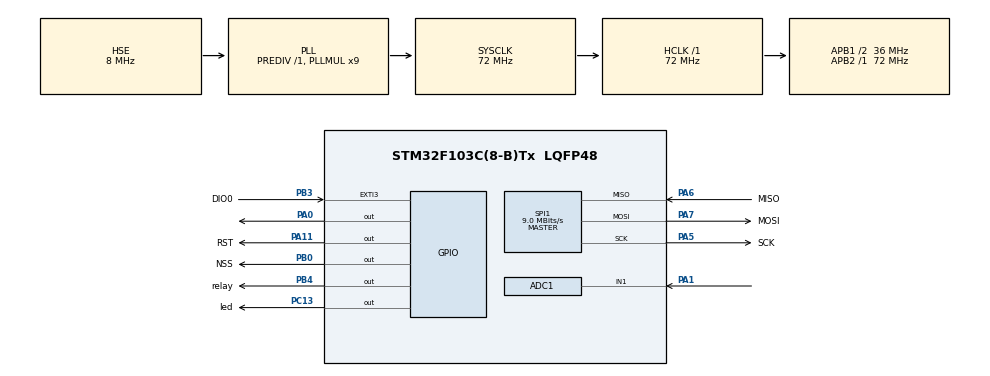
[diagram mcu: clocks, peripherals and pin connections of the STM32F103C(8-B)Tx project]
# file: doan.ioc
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ADC1.Channel-0\#ChannelRegularConversion=ADC_CHANNEL_1
ADC1.ContinuousConvMode=DISABLE
ADC1.DataAlign=ADC_DATAALIGN_RIGHT
ADC1.DiscontinuousConvMode=DISABLE
ADC1.EnableAnalogWatchDog=false
ADC1.EnableRegularConversion=ENABLE
ADC1.ExternalTrigConvEdgeChoice=NONE
ADC1.InjNumberOfConversion=0
ADC1.NbrOfConversion=1
ADC1.NbrOfConversionFlag=1
ADC1.Rank-0\#ChannelRegularConversion=1
ADC1.SamplingTime-0\#ChannelRegularConversion=ADC_SAMPLETIME_1CYCLE_5
ADC1.ScanConvMode=ADC_SCAN_DISABLE
ADC1.master=1
Mcu.Family=STM32F1
Mcu.Name=STM32F103C(8-B)Tx
Mcu.Package=LQFP48
NVIC.EXTI3_IRQn=true\:0\:0\:false\:false\:true\:true\:true\:true
NVIC.PriorityGroup=NVIC_PRIORITYGROUP_4
PA0-WKUP.PinState=GPIO_PIN_SET
PA0-WKUP.Signal=GPIO_Output
PA1.Signal=ADCx_IN1
PA11.GPIO_Label=RST
PA11.PinState=GPIO_PIN_SET
PA11.Signal=GPIO_Output
PA13.Mode=Serial_Wire
PA13.Signal=SYS_JTMS-SWDIO
PA14.Mode=Serial_Wire
PA14.Signal=SYS_JTCK-SWCLK
PA5.GPIO_Label=SCK
PA5.Mode=Full_Duplex_Master
PA5.Signal=SPI1_SCK
PA6.GPIO_Label=MISO
PA6.Mode=Full_Duplex_Master
PA6.Signal=SPI1_MISO
PA7.GPIO_Label=MOSI
PA7.Mode=Full_Duplex_Master
PA7.Signal=SPI1_MOSI
PB0.GPIO_Label=NSS
PB0.PinState=GPIO_PIN_SET
PB0.Signal=GPIO_Output
PB3.GPIO_Label=DIO0
PB3.Signal=GPXTI3
PB4.GPIO_Label=relay
PB4.Signal=GPIO_Output
PC13-TAMPER-RTC.GPIO_Label=led
PC13-TAMPER-RTC.Signal=GPIO_Output
PD0-OSC_IN.Mode=HSE-External-Oscillator
PD0-OSC_IN.Signal=RCC_OSC_IN
PD1-OSC_OUT.Mode=HSE-External-Oscillator
PD1-OSC_OUT.Signal=RCC_OSC_OUT
ProjectManager.HeapSize=0x200
ProjectManager.StackSize=0x400
ProjectManager.TargetToolchain=MDK-ARM V5
RCC.ADCPresc=RCC_ADCPCLK2_DIV6
RCC.AHBFreq_Value=72000000
RCC.APB1CLKDivider=RCC_HCLK_DIV2
RCC.APB1Freq_Value=36000000
RCC.APB1TimCLKDivider=1
RCC.APB1TimFreq_Value=36000000
RCC.APB2Freq_Value=72000000
RCC.APB2TimFreq_Value=72000000
RCC.HCLKFreq_Value=72000000
RCC.PLLMUL=RCC_PLL_MUL9
RCC.PLLSourceVirtual=RCC_PLLSOURCE_HSE
RCC.RTCClockSelection=RCC_RTCCLKSOURCE_LSE
RCC.SYSCLKFreq_VALUE=72000000
RCC.SYSCLKSource=RCC_SYSCLKSOURCE_PLLCLK
RCC.USBFreq_Value=72000000
SH.ADCx_IN1.0=ADC1_IN1,IN1
SPI1.BaudRatePrescaler=SPI_BAUDRATEPRESCALER_8
SPI1.CalculateBaudRate=9.0 MBits/s
SPI1.Direction=SPI_DIRECTION_2LINES
SPI1.Mode=SPI_MODE_MASTER
SPI1.VirtualType=VM_MASTER
TIM1.Period=0xffff-1
TIM1.Prescaler=72-1
VP_TIM1_VS_ClockSourceINT.Mode=Internal
board=doan

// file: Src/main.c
/**
  ******************************************************************************
  * File Name          : main.c
  * Description        : Main program body
  ******************************************************************************
  *
  * COPYRIGHT(c) 2024 STMicroelectronics
  *
  * Redistribution and use in source and binary forms, with or without modification,
  * are permitted provided that the following conditions are met:
  *   1. Redistributions of source code must retain the above copyright notice,
  *      this list of conditions and the following disclaimer.
  *   2. Redistributions in binary form must reproduce the above copyright notice,
  *      this list of conditions and the following disclaimer in the documentation
  *      and/or other materials provided with the distribution.
  *   3. Neither the name of STMicroelectronics nor the names of its contributors
  *      may be used to endorse or promote products derived from this software
  *      without specific prior written permission.
  *
  * THIS SOFTWARE IS PROVIDED BY THE COPYRIGHT HOLDERS AND CONTRIBUTORS "AS IS"
  * AND ANY EXPRESS OR IMPLIED WARRANTIES, INCLUDING, BUT NOT LIMITED TO, THE
  * IMPLIED WARRANTIES OF MERCHANTABILITY AND FITNESS FOR A PARTICULAR PURPOSE ARE
  * DISCLAIMED. IN NO EVENT SHALL THE COPYRIGHT HOLDER OR CONTRIBUTORS BE LIABLE
  * FOR ANY DIRECT, INDIRECT, INCIDENTAL, SPECIAL, EXEMPLARY, OR CONSEQUENTIAL
  * DAMAGES (INCLUDING, BUT NOT LIMITED TO, PROCUREMENT OF SUBSTITUTE GOODS OR
  * SERVICES; LOSS OF USE, DATA, OR PROFITS; OR BUSINESS INTERRUPTION) HOWEVER
  * CAUSED AND ON ANY THEORY OF LIABILITY, WHETHER IN CONTRACT, STRICT LIABILITY,
  * OR TORT (INCLUDING NEGLIGENCE OR OTHERWISE) ARISING IN ANY WAY OUT OF THE USE
  * OF THIS SOFTWARE, EVEN IF ADVISED OF THE POSSIBILITY OF SUCH DAMAGE.
  *
  ******************************************************************************
  */
#include "stm32f1xx_hal.h"

/* USER CODE BEGIN Includes */
#include "LoRa.h"
#include "dht11.h"
#include "Soil_moisture.h"
#include <string.h>
/* USER CODE END Includes */

ADC_HandleTypeDef hadc1;

SPI_HandleTypeDef hspi1;

TIM_HandleTypeDef htim1;

/* USER CODE BEGIN PV */
/* Private variables ---------------------------------------------------------*/
#ifndef __LoRa_H
    #error Include LoRa lib please
#endif

#ifndef __dht11_H
    #error Include dht11 lib please
#endif

#ifndef _Soil_moisture_H
    #error Include soil lib please
#endif

#define DEVICE_0			0
#define DEVICE_1			1
#define DEVICE_2			2

#define receive

#define DEVICE_ID			DEVICE_2

#define DHT11_PORT GPIOA
#define DHT11_PIN GPIO_PIN_0

uint8_t RH1, RH2, TC1, TC2, SUM, CHECK;
uint8_t RHI, RHD, TCI, TCD, SUM;
uint32_t pMillis, cMillis;
int tCelsius = 0;
float tFahrenheit = 0;
int RH = 0;

LoRa myLoRa;
uint8_t LoRa_stat;
uint8_t Buffer_ADC[8];
uint8_t temp = 25, hum = 20;
uint16_t ADC_VAL = 0;
uint16_t Percent_Val;
uint8_t received_data[10];
uint8_t flag_transmit = 0;
uint8_t flag_transmit_relay = 0;
uint8_t ID = DEVICE_ID;
uint8_t relay_state = 0;
uint8_t flag_200 = 0;
uint8_t	flag_200_rv = 0;
uint16_t count_time = 0;
char json[128];
int len;

//int			RSSI;
/* USER CODE END PV */

void SystemClock_Config(void);
static void SystemClock_Config(void);
static void MX_GPIO_Init(void);
static void MX_ADC1_Init(void);
static void MX_SPI1_Init(void);
static void MX_TIM1_Init(void);

/* USER CODE BEGIN PFP */
/* Private function prototypes -----------------------------------------------*/

/* USER CODE END PFP */

/* USER CODE BEGIN 0 */
void HAL_GPIO_EXTI_Callback(uint16_t GPIO_Pin)
{
	if(GPIO_Pin == DIO0_Pin){
		//received_data = "";
		LoRa_receive(&myLoRa, received_data, 10);
		#if (DEVICE_ID == DEVICE_0)
			if(!strcmp((char*) received_data,"GET_ID0")){
				flag_transmit=1;
			}
			else if (!strcmp((char*) received_data,"200") && flag_transmit){
				flag_200 = 1;
			}
			else if(!strcmp((char*) received_data,"ON_ID0")){
				flag_transmit_relay=1;
				relay_state = 1;
				HAL_GPIO_WritePin(relay_GPIO_Port,relay_Pin,GPIO_PIN_RESET);
			}
			else if(!strcmp((char*) received_data,"OFF_ID0")){
				flag_transmit_relay=1;
				relay_state = 0;
				HAL_GPIO_WritePin(relay_GPIO_Port,relay_Pin,GPIO_PIN_SET);
			}
			memset(received_data, 0, sizeof(received_data));

			#elif (DEVICE_ID == DEVICE_1)
			if(!strcmp((char*) received_data,"GET_ID1")){
				flag_transmit=1;
			}
			else if (!strcmp((char*) received_data,"200") && flag_transmit){
				flag_200 = 1;
			}
			else if(!strcmp((char*) received_data,"ON_ID1")){
				flag_transmit_relay=1;
				relay_state = 1;
				HAL_GPIO_WritePin(relay_GPIO_Port,relay_Pin,GPIO_PIN_RESET);

			}
			else if(!strcmp((char*) received_data,"OFF_ID1")){
				flag_transmit_relay=1;
				relay_state = 0;
				HAL_GPIO_WritePin(relay_GPIO_Port,relay_Pin,GPIO_PIN_SET);
			}
			memset(received_data, 0, sizeof(received_data));

		#elif (DEVICE_ID == DEVICE_2)
			if(!strcmp((char*) received_data,"GET_ID2")){
				flag_transmit = 1;
			}
			else if (!strcmp((char*) received_data,"200") && flag_transmit){
				flag_200 = 1;
			}
			else if(!strcmp((char*) received_data,"ON_ID2")){
				flag_transmit_relay=1;
				relay_state = 1;
				HAL_GPIO_WritePin(relay_GPIO_Port,relay_Pin,GPIO_PIN_RESET);
			}
			else if(!strcmp((char*) received_data,"OFF_ID2")){
				flag_transmit_relay=1;
				relay_state = 0;
				HAL_GPIO_WritePin(relay_GPIO_Port,relay_Pin,GPIO_PIN_SET);
			}
			memset(received_data, 0, sizeof(received_data));
		#endif

	}
}

uint16_t map(long x, long in_min, long in_max, long out_min, long out_max)
{
	return (x - in_min) * (out_max - out_min) / (in_max - in_min) + out_min;
}

uint8_t DHT11_Start (void)
{
  uint8_t Response = 0;
  GPIO_InitTypeDef GPIO_InitStructPrivate = {0};
  GPIO_InitStructPrivate.Pin = DHT11_PIN;
  GPIO_InitStructPrivate.Mode = GPIO_MODE_OUTPUT_PP;
  GPIO_InitStructPrivate.Speed = GPIO_SPEED_FREQ_LOW;
  GPIO_InitStructPrivate.Pull = GPIO_NOPULL;
  HAL_GPIO_Init(DHT11_PORT, &GPIO_InitStructPrivate); // set the pin as output
  HAL_GPIO_WritePin (DHT11_PORT, DHT11_PIN, GPIO_PIN_RESET);   // pull the pin low
  HAL_Delay(20);   // wait for 20ms
  HAL_GPIO_WritePin (DHT11_PORT, DHT11_PIN, GPIO_PIN_SET);   // pull the pin high
  delay_us (30);   // wait for 30us
  GPIO_InitStructPrivate.Mode = GPIO_MODE_INPUT;
  GPIO_InitStructPrivate.Pull = GPIO_PULLUP;
  HAL_GPIO_Init(DHT11_PORT, &GPIO_InitStructPrivate); // set the pin as input
 delay_us (40);
  if (!(HAL_GPIO_ReadPin (DHT11_PORT, DHT11_PIN)))
  {
    delay_us (80);
    if ((HAL_GPIO_ReadPin (DHT11_PORT, DHT11_PIN))) Response = 1;
  }
  pMillis = HAL_GetTick();
  cMillis = HAL_GetTick();
  while ((HAL_GPIO_ReadPin (DHT11_PORT, DHT11_PIN)) && pMillis + 2 > cMillis)
  {
    cMillis = HAL_GetTick();
  }
  return Response;
}

uint8_t DHT11_Read (void)
{
  uint8_t a,b;
  for (a=0;a<8;a++)
  {
    pMillis = HAL_GetTick();
    cMillis = HAL_GetTick();
    while (!(HAL_GPIO_ReadPin (DHT11_PORT, DHT11_PIN)) && pMillis + 2 > cMillis)
    {  // wait for the pin to go high
      cMillis = HAL_GetTick();
    }
    delay_us (40);   // wait for 40 us
    if (!(HAL_GPIO_ReadPin (DHT11_PORT, DHT11_PIN)))   // if the pin is low
      b&= ~(1<<(7-a));
    else
      b|= (1<<(7-a));
    pMillis = HAL_GetTick();
    cMillis = HAL_GetTick();
    while ((HAL_GPIO_ReadPin (DHT11_PORT, DHT11_PIN)) && pMillis + 2 > cMillis)
    {  // wait for the pin to go low
      cMillis = HAL_GetTick();
    }
  }
  return b;
}
void value_handle(){
		if(DHT11_Start())
    {
      RHI = DHT11_Read(); // Relative humidity integral
      RHD = DHT11_Read(); // Relative humidity decimal
      TCI = DHT11_Read(); // Celsius integral
      TCD = DHT11_Read(); // Celsius decimal
      SUM = DHT11_Read(); // Check sum
      if (RHI + RHD + TCI + TCD == SUM)
      {
        // Can use RHI and TCI for any purposes if whole number only needed
        tCelsius = (float)TCI + (float)(TCD/10.0);
        tFahrenheit = tCelsius * 9/5 + 32;
        RH = (float)RHI + (float)(RHD/10.0);
        // Can use tCelsius, tFahrenheit and RH for any purposes
      }
    }
		HAL_Delay(200);

		Read_soil_moisture_value(Buffer_ADC, &ADC_VAL);
		HAL_Delay(200);

		Percent_Val = map(ADC_VAL,0,4096,0,100);
		Percent_Val = 100 - Percent_Val;
}

//===========================================================

/* USER CODE END 0 */

int main(void)
{

  /* MCU Configuration----------------------------------------------------------*/

  /* Reset of all peripherals, Initializes the Flash interface and the Systick. */
  HAL_Init();

  /* Configure the system clock */
  SystemClock_Config();

  /* Initialize all configured peripherals */
  SystemClock_Config();
  MX_GPIO_Init();
  MX_ADC1_Init();
  MX_SPI1_Init();
  MX_TIM1_Init();

  /* USER CODE BEGIN 2 */
	//	myLoRa = newLoRa();

	myLoRa.hSPIx                 = &hspi1;
	myLoRa.CS_port               = NSS_GPIO_Port;
	myLoRa.CS_pin                = NSS_Pin;
	myLoRa.reset_port            = RST_GPIO_Port;
	myLoRa.reset_pin             = RST_Pin;
	myLoRa.DIO0_port						 = DIO0_GPIO_Port;
	myLoRa.DIO0_pin							 = DIO0_Pin;

	myLoRa.frequency             = 433;							  // default = 433 MHz
	myLoRa.spredingFactor        = SF_7;							// default = SF_7
	myLoRa.bandWidth			       = BW_125KHz;				  // default = BW_125KHz
	myLoRa.crcRate				       = CR_4_5;						// default = CR_4_5
	myLoRa.power					       = POWER_20db;				// default = 20db
	myLoRa.overCurrentProtection = 120; 							// default = 100 mA
	myLoRa.preamble				       = 10;		  					// default = 8;

	LoRa_reset(&myLoRa);
	if(LoRa_init(&myLoRa) == LORA_OK){
			LoRa_stat = 1;
	}
	LoRa_startReceiving(&myLoRa);

	GPIO_InitTypeDef GPIO_InitStruct;
	GPIO_InitStruct.Pin = GPIO_PIN_9;
  GPIO_InitStruct.Mode = GPIO_MODE_OUTPUT_PP;
  GPIO_InitStruct.Speed = GPIO_SPEED_FREQ_LOW;
  HAL_GPIO_Init(GPIOB, &GPIO_InitStruct);

	HAL_TIM_Base_Start(&htim1);

  /* USER CODE END 2 */

	HAL_GPIO_WritePin(relay_GPIO_Port, relay_Pin, GPIO_PIN_SET);

  /* Infinite loop */
  while (1)
  {

  /* USER CODE BEGIN 3 */
		#ifdef receive
		HAL_GPIO_WritePin(led_GPIO_Port, led_Pin, GPIO_PIN_RESET);
		HAL_Delay(200);
		HAL_GPIO_WritePin(led_GPIO_Port, led_Pin, GPIO_PIN_SET);
		HAL_Delay(200);
		HAL_SuspendTick();
//
		HAL_PWR_EnterSLEEPMode(PWR_MAINREGULATOR_ON, PWR_SLEEPENTRY_WFI);
//
		HAL_ResumeTick();

	if(flag_transmit==1){
			value_handle();
			len = sprintf(json, "{\"ID\":%d,\"temp\":%d,\"hum\":%d,\"adc_val\":%d}", ID, tCelsius, RH, Percent_Val);
			json[len] = '\0';
			for(uint8_t i = 0; i < 5; i++){
				LoRa_transmit(&myLoRa,(uint8_t *) json,len+1,100);
				while(count_time <= 2000){
						HAL_Delay(1);
						count_time++;
						if(flag_200){
							flag_200_rv=1;
							break;
						}
					}
				count_time = 0;
				if (flag_200_rv){
					flag_200_rv = 0;
					HAL_Delay(100);
					break;
				}
			}
			flag_transmit = 0;
		}

	if(flag_transmit_relay){
				HAL_Delay(200);
				if(relay_state){
					len = sprintf(json, "{\"ID\":%d,\"relay\":%d}", ID, 1);
					json[len] = '\0';
					LoRa_transmit(&myLoRa,(uint8_t *) json,len+1,100);
				}
				while(relay_state){
						value_handle();
						len = sprintf(json, "{\"ID\":%d,\"temp\":%d,\"hum\":%d,\"adc_val\":%d}", ID, tCelsius, RH, Percent_Val);
						json[len] = '\0';
						LoRa_transmit(&myLoRa,(uint8_t *) json,len+1,100);
						HAL_Delay(5000);
						if(!relay_state){break;}
				}
				len = sprintf(json, "{\"ID\":%d,\"relay\":%d}", ID, 0);
				json[len] = '\0';
				LoRa_transmit(&myLoRa,(uint8_t *) json,len+1,100);
				HAL_Delay(200);
				flag_transmit_relay = 0;
		}

		#else
		value_handle();

		HAL_Delay(2000);

		#endif
 }
  /* USER CODE END 3 */

}

/** System Clock Configuration
*/
void SystemClock_Config(void)
{

  RCC_OscInitTypeDef RCC_OscInitStruct;
  RCC_ClkInitTypeDef RCC_ClkInitStruct;
  RCC_PeriphCLKInitTypeDef PeriphClkInit;

  RCC_OscInitStruct.OscillatorType = RCC_OSCILLATORTYPE_HSE;
  RCC_OscInitStruct.HSEState = RCC_HSE_ON;
  RCC_OscInitStruct.HSEPredivValue = RCC_HSE_PREDIV_DIV1;
  RCC_OscInitStruct.HSIState = RCC_HSI_ON;
  RCC_OscInitStruct.PLL.PLLState = RCC_PLL_ON;
  RCC_OscInitStruct.PLL.PLLSource = RCC_PLLSOURCE_HSE;
  RCC_OscInitStruct.PLL.PLLMUL = RCC_PLL_MUL9;
  HAL_RCC_OscConfig(&RCC_OscInitStruct);

  RCC_ClkInitStruct.ClockType = RCC_CLOCKTYPE_HCLK|RCC_CLOCKTYPE_SYSCLK
                              |RCC_CLOCKTYPE_PCLK1|RCC_CLOCKTYPE_PCLK2;
  RCC_ClkInitStruct.SYSCLKSource = RCC_SYSCLKSOURCE_PLLCLK;
  RCC_ClkInitStruct.AHBCLKDivider = RCC_SYSCLK_DIV1;
  RCC_ClkInitStruct.APB1CLKDivider = RCC_HCLK_DIV2;
  RCC_ClkInitStruct.APB2CLKDivider = RCC_HCLK_DIV1;
  HAL_RCC_ClockConfig(&RCC_ClkInitStruct, FLASH_LATENCY_2);

  PeriphClkInit.PeriphClockSelection = RCC_PERIPHCLK_ADC;
  PeriphClkInit.AdcClockSelection = RCC_ADCPCLK2_DIV6;
  HAL_RCCEx_PeriphCLKConfig(&PeriphClkInit);

  HAL_SYSTICK_Config(HAL_RCC_GetHCLKFreq()/1000);

  HAL_SYSTICK_CLKSourceConfig(SYSTICK_CLKSOURCE_HCLK);

  /* SysTick_IRQn interrupt configuration */
  HAL_NVIC_SetPriority(SysTick_IRQn, 0, 0);
}

/* ADC1 init function */
void MX_ADC1_Init(void)
{

  ADC_ChannelConfTypeDef sConfig;

    /**Common config
    */
  hadc1.Instance = ADC1;
  hadc1.Init.ScanConvMode = ADC_SCAN_DISABLE;
  hadc1.Init.ContinuousConvMode = DISABLE;
  hadc1.Init.DiscontinuousConvMode = DISABLE;
  hadc1.Init.ExternalTrigConv = ADC_SOFTWARE_START;
  hadc1.Init.DataAlign = ADC_DATAALIGN_RIGHT;
  hadc1.Init.NbrOfConversion = 1;
  HAL_ADC_Init(&hadc1);

    /**Configure Regular Channel
    */
  sConfig.Channel = ADC_CHANNEL_1;
  sConfig.Rank = 1;
  sConfig.SamplingTime = ADC_SAMPLETIME_1CYCLE_5;
  HAL_ADC_ConfigChannel(&hadc1, &sConfig);

}

/* SPI1 init function */
void MX_SPI1_Init(void)
{

  hspi1.Instance = SPI1;
  hspi1.Init.Mode = SPI_MODE_MASTER;
  hspi1.Init.Direction = SPI_DIRECTION_2LINES;
  hspi1.Init.DataSize = SPI_DATASIZE_8BIT;
  hspi1.Init.CLKPolarity = SPI_POLARITY_LOW;
  hspi1.Init.CLKPhase = SPI_PHASE_1EDGE;
  hspi1.Init.NSS = SPI_NSS_SOFT;
  hspi1.Init.BaudRatePrescaler = SPI_BAUDRATEPRESCALER_8;
  hspi1.Init.FirstBit = SPI_FIRSTBIT_MSB;
  hspi1.Init.TIMode = SPI_TIMODE_DISABLE;
  hspi1.Init.CRCCalculation = SPI_CRCCALCULATION_DISABLE;
  hspi1.Init.CRCPolynomial = 10;
  HAL_SPI_Init(&hspi1);

}

/* TIM1 init function */
void MX_TIM1_Init(void)
{

  TIM_ClockConfigTypeDef sClockSourceConfig;
  TIM_MasterConfigTypeDef sMasterConfig;

  htim1.Instance = TIM1;
  htim1.Init.Prescaler = 72-1;
  htim1.Init.CounterMode = TIM_COUNTERMODE_UP;
  htim1.Init.Period = 0xffff-1;
  htim1.Init.ClockDivision = TIM_CLOCKDIVISION_DIV1;
  htim1.Init.RepetitionCounter = 0;
  HAL_TIM_Base_Init(&htim1);

  sClockSourceConfig.ClockSource = TIM_CLOCKSOURCE_INTERNAL;
  HAL_TIM_ConfigClockSource(&htim1, &sClockSourceConfig);

  sMasterConfig.MasterOutputTrigger = TIM_TRGO_RESET;
  sMasterConfig.MasterSlaveMode = TIM_MASTERSLAVEMODE_DISABLE;
  HAL_TIMEx_MasterConfigSynchronization(&htim1, &sMasterConfig);

}

/** Configure pins as
        * Analog
        * Input
        * Output
        * EVENT_OUT
        * EXTI
*/
void MX_GPIO_Init(void)
{

  GPIO_InitTypeDef GPIO_InitStruct;

  /* GPIO Ports Clock Enable */
  __HAL_RCC_GPIOC_CLK_ENABLE();
  __HAL_RCC_GPIOD_CLK_ENABLE();
  __HAL_RCC_GPIOA_CLK_ENABLE();
  __HAL_RCC_GPIOB_CLK_ENABLE();

  /*Configure GPIO pin Output Level */
  HAL_GPIO_WritePin(led_GPIO_Port, led_Pin, GPIO_PIN_RESET);

  /*Configure GPIO pin Output Level */
  HAL_GPIO_WritePin(GPIOA, GPIO_PIN_0|RST_Pin, GPIO_PIN_SET);

  /*Configure GPIO pin Output Level */
  HAL_GPIO_WritePin(NSS_GPIO_Port, NSS_Pin, GPIO_PIN_SET);

  /*Configure GPIO pin Output Level */
  HAL_GPIO_WritePin(relay_GPIO_Port, relay_Pin, GPIO_PIN_RESET);

  /*Configure GPIO pin : led_Pin */
  GPIO_InitStruct.Pin = led_Pin;
  GPIO_InitStruct.Mode = GPIO_MODE_OUTPUT_PP;
  GPIO_InitStruct.Speed = GPIO_SPEED_FREQ_LOW;
  HAL_GPIO_Init(led_GPIO_Port, &GPIO_InitStruct);

  /*Configure GPIO pins : PA0 RST_Pin */
  GPIO_InitStruct.Pin = GPIO_PIN_0|RST_Pin;
  GPIO_InitStruct.Mode = GPIO_MODE_OUTPUT_PP;
  GPIO_InitStruct.Speed = GPIO_SPEED_FREQ_LOW;
  HAL_GPIO_Init(GPIOA, &GPIO_InitStruct);

  /*Configure GPIO pins : NSS_Pin relay_Pin */
  GPIO_InitStruct.Pin = NSS_Pin|relay_Pin;
  GPIO_InitStruct.Mode = GPIO_MODE_OUTPUT_PP;
  GPIO_InitStruct.Speed = GPIO_SPEED_FREQ_LOW;
  HAL_GPIO_Init(GPIOB, &GPIO_InitStruct);

  /*Configure GPIO pin : DIO0_Pin */
  GPIO_InitStruct.Pin = DIO0_Pin;
  GPIO_InitStruct.Mode = GPIO_MODE_IT_RISING;
  GPIO_InitStruct.Pull = GPIO_NOPULL;
  HAL_GPIO_Init(DIO0_GPIO_Port, &GPIO_InitStruct);

  /* EXTI interrupt init*/
  HAL_NVIC_SetPriority(EXTI3_IRQn, 0, 0);
  HAL_NVIC_EnableIRQ(EXTI3_IRQn);

}

/************************ (C) COPYRIGHT STMicroelectronics *****END OF FILE****/
